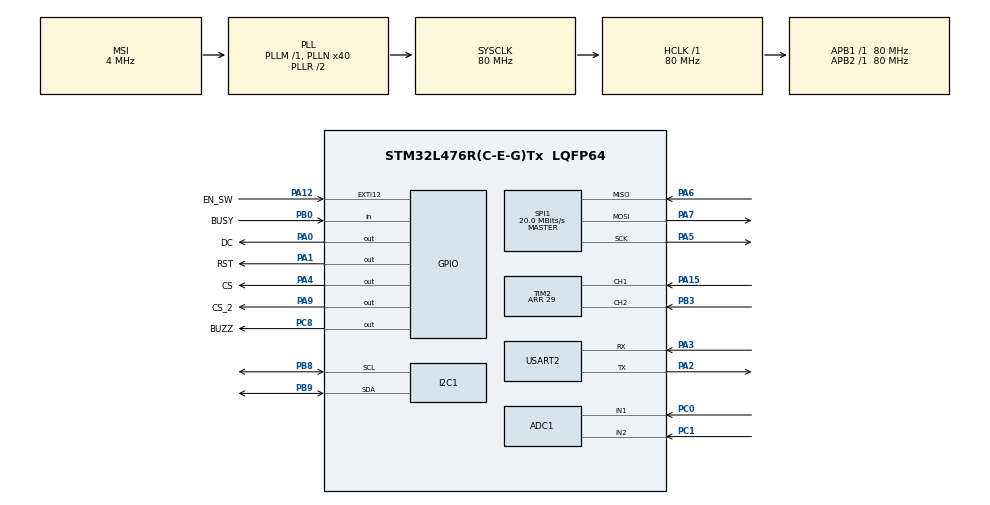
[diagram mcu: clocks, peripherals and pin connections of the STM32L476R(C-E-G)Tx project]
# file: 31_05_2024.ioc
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ADC1.Channel-2\#ChannelRegularConversion=ADC_CHANNEL_1
ADC1.Channel-3\#ChannelRegularConversion=ADC_CHANNEL_2
ADC1.NbrOfConversion=2
ADC1.NbrOfConversionFlag=1
ADC1.OffsetNumber-2\#ChannelRegularConversion=ADC_OFFSET_NONE
ADC1.OffsetNumber-3\#ChannelRegularConversion=ADC_OFFSET_NONE
ADC1.Rank-2\#ChannelRegularConversion=1
ADC1.Rank-3\#ChannelRegularConversion=2
ADC1.SamplingTime-2\#ChannelRegularConversion=ADC_SAMPLETIME_640CYCLES_5
ADC1.SamplingTime-3\#ChannelRegularConversion=ADC_SAMPLETIME_640CYCLES_5
ADC1.master=1
Dma.Request0=SPI1_TX
Dma.Request1=SPI1_RX
Dma.SPI1_RX.1.Direction=DMA_PERIPH_TO_MEMORY
Dma.SPI1_RX.1.Instance=DMA1_Channel2
Dma.SPI1_RX.1.MemDataAlignment=DMA_MDATAALIGN_BYTE
Dma.SPI1_RX.1.MemInc=DMA_MINC_ENABLE
Dma.SPI1_RX.1.Mode=DMA_NORMAL
Dma.SPI1_RX.1.PeriphDataAlignment=DMA_PDATAALIGN_BYTE
Dma.SPI1_RX.1.PeriphInc=DMA_PINC_DISABLE
Dma.SPI1_RX.1.Priority=DMA_PRIORITY_VERY_HIGH
Dma.SPI1_TX.0.Direction=DMA_MEMORY_TO_PERIPH
Dma.SPI1_TX.0.Instance=DMA1_Channel3
Dma.SPI1_TX.0.MemDataAlignment=DMA_MDATAALIGN_BYTE
Dma.SPI1_TX.0.MemInc=DMA_MINC_ENABLE
Dma.SPI1_TX.0.Mode=DMA_NORMAL
Dma.SPI1_TX.0.PeriphDataAlignment=DMA_PDATAALIGN_BYTE
Dma.SPI1_TX.0.PeriphInc=DMA_PINC_DISABLE
Dma.SPI1_TX.0.Priority=DMA_PRIORITY_VERY_HIGH
FATFS._MAX_SS=4096
FATFS._USE_LFN=1
I2C1.Timing=0x10909CEC
Mcu.Family=STM32L4
Mcu.Name=STM32L476R(C-E-G)Tx
Mcu.Package=LQFP64
NVIC.DMA1_Channel2_IRQn=true\:0\:0\:false\:false\:true\:false\:true\:true
NVIC.DMA1_Channel3_IRQn=true\:0\:0\:false\:false\:true\:false\:true\:true
NVIC.EXTI15_10_IRQn=true\:0\:0\:false\:false\:true\:true\:true\:true
NVIC.PriorityGroup=NVIC_PRIORITYGROUP_4
NVIC.SPI1_IRQn=true\:0\:0\:false\:false\:true\:true\:true\:true
NVIC.TIM2_IRQn=true\:0\:0\:false\:false\:true\:true\:true\:true
NVIC.TIM3_IRQn=true\:0\:0\:false\:false\:true\:true\:true\:true
PA0.GPIO_Label=DC
PA0.Signal=GPIO_Output
PA1.GPIO_Label=RST
PA1.Signal=GPIO_Output
PA12.GPIO_Label=EN_SW
PA12.GPIO_ModeDefaultEXTI=GPIO_MODE_IT_FALLING
PA12.GPIO_PuPd=GPIO_PULLUP
PA12.Signal=GPXTI12
PA13\ (JTMS-SWDIO).Signal=SYS_JTMS-SWDIO
PA14\ (JTCK-SWCLK).Signal=SYS_JTCK-SWCLK
PA15\ (JTDI).Signal=S_TIM2_CH1
PA2.Mode=Asynchronous
PA2.Signal=USART2_TX
PA3.Mode=Asynchronous
PA3.Signal=USART2_RX
PA4.GPIO_Label=CS
PA4.Signal=GPIO_Output
PA5.Signal=SharedStack_PA5
PA5.Stacked=true
PA6.Mode=Full_Duplex_Master
PA6.Signal=SPI1_MISO
PA7.Mode=Full_Duplex_Master
PA7.Signal=SPI1_MOSI
PA9.GPIO_Label=CS_2
PA9.Signal=GPIO_Output
PB0.GPIO_Label=BUSY
PB0.Signal=GPIO_Input
PB3\ (JTDO-TRACESWO).Signal=S_TIM2_CH2
PB8.Mode=I2C
PB8.Signal=I2C1_SCL
PB9.Mode=I2C
PB9.Signal=I2C1_SDA
PC0.Signal=ADCx_IN1
PC1.Signal=ADCx_IN2
PC14-OSC32_IN\ (PC14).Mode=LSE-External-Oscillator
PC14-OSC32_IN\ (PC14).Signal=RCC_OSC32_IN
PC15-OSC32_OUT\ (PC15).Mode=LSE-External-Oscillator
PC15-OSC32_OUT\ (PC15).Signal=RCC_OSC32_OUT
PC8.GPIO_Label=BUZZ
PC8.Signal=GPIO_Output
ProjectManager.HeapSize=0x200
ProjectManager.StackSize=0x400
ProjectManager.TargetToolchain=CMake
RCC.ADCFreq_Value=32000000
RCC.AHBFreq_Value=80000000
RCC.APB1Freq_Value=80000000
RCC.APB1TimFreq_Value=80000000
RCC.APB2Freq_Value=80000000
RCC.APB2TimFreq_Value=80000000
RCC.CortexFreq_Value=80000000
RCC.HCLKFreq_Value=80000000
RCC.HSE_VALUE=8000000
RCC.HSI_VALUE=16000000
RCC.MSI_VALUE=4000000
RCC.PLLN=40
RCC.PLLSAI1N=16
RCC.RTCClockSelection=RCC_RTCCLKSOURCE_LSE
RCC.SYSCLKFreq_VALUE=80000000
RCC.SYSCLKSource=RCC_SYSCLKSOURCE_PLLCLK
RCC.USBFreq_Value=32000000
RCC.VCOOutputFreq_Value=160000000
SH.ADCx_IN1.0=ADC1_IN1,IN1-Single-Ended
SH.ADCx_IN2.0=ADC1_IN2,IN2-Single-Ended
SH.S_TIM2_CH1.0=TIM2_CH1,Encoder_Interface
SH.S_TIM2_CH2.0=TIM2_CH2,Encoder_Interface
SH.SharedStack_PA5.0=GPIO_Output+0
SH.SharedStack_PA5.1=SPI1_SCK,Full_Duplex_Master
SPI1.BaudRatePrescaler=SPI_BAUDRATEPRESCALER_4
SPI1.CLKPhase=SPI_PHASE_1EDGE
SPI1.CLKPolarity=SPI_POLARITY_LOW
SPI1.CalculateBaudRate=20.0 MBits/s
SPI1.DataSize=SPI_DATASIZE_8BIT
SPI1.Direction=SPI_DIRECTION_2LINES
SPI1.Mode=SPI_MODE_MASTER
SPI1.VirtualType=VM_MASTER
TIM2.EncoderMode=TIM_ENCODERMODE_TI1
TIM2.Period=29
TIM3.Period=99
TIM3.Prescaler=7999
USART2.VirtualMode-Asynchronous=VM_ASYNC
VP_FATFS_VS_Generic.Mode=User_defined
VP_RTC_VS_RTC_Activate.Mode=RTC_Enabled
VP_RTC_VS_RTC_Calendar.Mode=RTC_Calendar
VP_TIM3_VS_ClockSourceINT.Mode=Internal
board=custom

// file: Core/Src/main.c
/* USER CODE BEGIN Header */
/**
 ******************************************************************************
 * @file           : main.c
 * @brief          : Main program body
 ******************************************************************************
 * @attention
 *
 * Copyright (c) 2024 STMicroelectronics.
 * All rights reserved.
 *
 * This software is licensed pod terms that can be found in the LICENSE file
 * in the root directory of this software component.
 * If no LICENSE file comes with this software, it is provided AS-IS.
 *
 ******************************************************************************
 */
/* USER CODE END Header */
#include "main.h"
#include "fatfs.h"
#include "ff.h"

/* USER CODE BEGIN Includes */
#include <stdio.h>
#include <stdlib.h>
#include <math.h>
#include <string.h>
#include "epd4in2b.h"
#include "epdpaint.h"
#include "fonts.h"
#include "imagedata.h"
#include "user_interface.h"
#include "globals.h"
#include "ens160.h"
#include "max.h"
#include "bme280.h"

/* USER CODE END Includes */

/* USER CODE BEGIN PTD */
typedef int (*CanExitMenuFunction)(void);
CanExitMenuFunction canExitMenu = NULL;

/* USER CODE END PTD */

ADC_HandleTypeDef hadc1;

I2C_HandleTypeDef hi2c1;

RTC_HandleTypeDef hrtc;

SPI_HandleTypeDef hspi1;
DMA_HandleTypeDef hdma_spi1_tx;
DMA_HandleTypeDef hdma_spi1_rx;

TIM_HandleTypeDef htim2;
TIM_HandleTypeDef htim3;

UART_HandleTypeDef huart2;

/* USER CODE BEGIN PV */
static uint32_t measurement_number = 1;

// volatile uint8_t buttonState_SW = 0;
RTC_TimeTypeDef time;
RTC_DateTypeDef date;
 FATFS FatFs;  // Fatfs handle
    FIL fil;      // File handle
    FRESULT fres; // Result after operations

float read_adc_value(void);
int get_co_ppm(float voltage);
float get_hcho_ppm(float vs);

volatile uint8_t isSDCardInserted = 0;

// main.c lub inny plik, w którym znajduje się HAL_GPIO_EXTI_Callback
extern int encoderPosition;

volatile uint8_t buzzer_active = 0;
volatile uint32_t last_interrupt_time = 0;
volatile uint8_t GoToMenu = 0;

const uint32_t debounce_time = 200; // czas tłumienia drgań w ms

static struct bme280_t bme280;
static struct bme280_t *p_bme280 = &bme280;

volatile int currentIconIndex = 1; // Globalna zmienna do śledzenia wybranej ikony

DMA_HandleTypeDef hdma_spi1_rx;
DMA_HandleTypeDef hdma_spi1_tx;
extern DFRobot_ENS160_I2C ens160;

int counter = 1;
float batteryLevel = 0;

volatile uint8_t inMenu = 0;
 volatile bool sdNotOk=0;

Epd epd;
Paint paint;

/* USER CODE END PV */

void SystemClock_Config(void);
static void MX_GPIO_Init(void);
static void MX_DMA_Init(void);
static void MX_I2C1_Init(void);
static void MX_USART2_UART_Init(void);
static void MX_ADC1_Init(void);
static void MX_SPI1_Init(void);
static void MX_TIM2_Init(void);
static void MX_TIM3_Init(void);
static void MX_RTC_Init(void);
/* USER CODE BEGIN PFP */
uint8_t CheckAndRestoreCS2(void);

float process_hcho_measurement(void);
int process_co_measurement(void);

void process_SD_card(const char *data);

void user_delay_ms(uint32_t period);
void print_sensor_data_bme280(struct bme280_t *bme280);
void init_ens160(void);
void read_and_print_ens160_data(void);

float calculate_hcho_ppm(float voltage);

int calculate_co_ppm(float voltage);

int8_t user_i2c_read(uint8_t dev_id, uint8_t reg_addr, uint8_t *reg_data, uint8_t len);
int8_t user_i2c_write(uint8_t dev_id, uint8_t reg_addr, uint8_t *reg_data, uint8_t len);

float read_soc(I2C_HandleTypeDef *hi2c);

// void DisplayIcon(int iconIndex);

void HAL_GPIO_EXTI_Callback(uint16_t GPIO_Pin);

/* USER CODE END PFP */

/* USER CODE BEGIN 0 */
uint32_t loopCounter = 0; // Licznik impulsów pętli while
uint32_t sdCounter = 0;
#define BME280_OK 0
#define BME280_I2C_ADDR 0x76

// Redirect r to UART
int __io_putchar(int ch)
{
  if (ch == '\n')
  {
    uint8_t ch2 = '\r';
    HAL_UART_Transmit(&huart2, &ch2, 1, HAL_MAX_DELAY);
  }
  HAL_UART_Transmit(&huart2, (uint8_t *)&ch, 1, HAL_MAX_DELAY);
  return 1;
}

uint8_t CheckAndRestoreCS2(void)
{
    // Zapisz aktualny stan pinu CS_2
    GPIO_PinState original_state = HAL_GPIO_ReadPin(CS_2_GPIO_Port, CS_2_Pin);

    // Ustawienie pinu CS_2 jako wejście z rezystorem podciągającym do masy
    GPIO_InitTypeDef GPIO_InitStruct = {0};
    GPIO_InitStruct.Pin = CS_2_Pin;
    GPIO_InitStruct.Mode = GPIO_MODE_INPUT;
    GPIO_InitStruct.Pull = GPIO_PULLDOWN;
    HAL_GPIO_Init(CS_2_GPIO_Port, &GPIO_InitStruct);

    // Sprawdzenie stanu pinu
    uint8_t card_inserted = HAL_GPIO_ReadPin(CS_2_GPIO_Port, CS_2_Pin) == GPIO_PIN_SET ? 1 : 0;

    // Przywrócenie oryginalnej konfiguracji pinu CS_2
    GPIO_InitStruct.Mode = GPIO_MODE_OUTPUT_PP;
    GPIO_InitStruct.Pull = GPIO_NOPULL;
    HAL_GPIO_Init(CS_2_GPIO_Port, &GPIO_InitStruct);
    HAL_GPIO_WritePin(CS_2_GPIO_Port, CS_2_Pin, original_state);

    // Zwrócenie wyniku
    return card_inserted;
}

void process_SD_card(const char *data) {
    // Prepare the buffer for data
    char data_buffer[512];

    // Get current date and time
    HAL_RTC_GetTime(&hrtc, &time, RTC_FORMAT_BIN);
    HAL_RTC_GetDate(&hrtc, &date, RTC_FORMAT_BIN);

    // Collect sensor data
    int32_t temperature_raw, pressure_raw, humidity_raw;
    bme280_read_uncomp_pressure_temperature_humidity(&pressure_raw, &temperature_raw, &humidity_raw);

    int32_t temperature = bme280_compensate_temperature_int32(temperature_raw); // Temperature in hundredths of degrees Celsius
    uint32_t humidity = bme280_compensate_humidity_int32(humidity_raw); // Humidity in thousandths of %
    uint32_t pressure = bme280_compensate_pressure_int32(pressure_raw); // Pressure in Pa

    uint8_t aqi = DFRobot_ENS160_GetAQI(&ens160);
    uint16_t co2 = DFRobot_ENS160_GetECO2(&ens160);
    uint8_t tvoc = DFRobot_ENS160_GetTVOC(&ens160);
    int co_ppm = process_co_measurement();
    float hcho_ppm = process_hcho_measurement();

    // Format data as a CSV string
    snprintf(data_buffer, sizeof(data_buffer),
        "%02d,%02d,%04d,%02d,%02d,%02d,%.2f,%.2f,%.2f,%d,%d,%d,%d,%.2f\r\n",
        date.Date, date.Month, 2000 + date.Year, time.Hours, time.Minutes, time.Seconds,
        temperature / 100.0, humidity / 1024.0, pressure / 100.0, aqi, co2, tvoc, co_ppm, hcho_ppm);

    // Mount and write to the SD card
    DWORD free_clusters;
    FATFS *fs;

    // Check if the SD card is mounted
    FRESULT res = f_getfree("", &free_clusters, &fs);

    if (res != FR_OK) {
        printf("SD card is not mounted, trying to remount...\r\n");

        // Unmount if it was previously mounted
        f_mount(NULL, "", 0);

        // Attempt to remount the SD card
        FRESULT fres = f_mount(&FatFs, "", 1);
        if (fres == FR_OK) {
            printf("SD card remounted successfully!\r\n");
        } else {
            printf("Failed to remount SD card: (%i)\r\n", fres);
            sdNotOk=1;
            return;
        }
    }

    // Open the file to append data
    printf("Opening 'sensor_data.csv' for writing...\r\n");
    FRESULT fres = f_open(&fil, "sensor_data.csv", FA_WRITE | FA_OPEN_APPEND);
    if (fres != FR_OK) {
        printf("Error opening file (FA_WRITE | FA_OPEN_APPEND): (%i)\r\n", fres);
        f_mount(NULL, "", 0);
        return;
    }

    // Check if the file is empty and write the header if it is
    if (f_size(&fil) == 0) {
        const char *header = "DAY,MONTH,YEAR,HOUR,MINUTE,SECOND,TEMPERATURE,HUMIDITY,PRESSURE,AQI,CO2,TVOC,CO,HCHO\n";
        f_write(&fil, header, strlen(header), NULL);
    }

    // Write data to the file
    fres = f_write(&fil, data_buffer, strlen(data_buffer), NULL);
    if (fres != FR_OK) {
        printf("Error writing to file\n");
        f_close(&fil);
        f_mount(NULL, "", 0);
        return;
    }
    printf("Data saved: %s\n", data_buffer);

    // Close the file
    fres = f_close(&fil);
    if (fres != FR_OK) {
        printf("Error closing file after writing: (%i)\r\n", fres);
        f_mount(NULL, "", 0);
        return;
    }

    // Unmount the SD card
    f_mount(NULL, "", 0);
    printf("SD card successfully unmounted!\r\n");
}

void read_adc_values(void)
{
    uint32_t value[2];
    float voltage[2];

    HAL_ADC_Start(&hadc1);

    // Conversion for CO channel
    HAL_ADC_PollForConversion(&hadc1, HAL_MAX_DELAY);
    value[0] = HAL_ADC_GetValue(&hadc1);

    // Conversion for HCHO channel
    HAL_ADC_PollForConversion(&hadc1, HAL_MAX_DELAY);
    value[1] = HAL_ADC_GetValue(&hadc1);

    // Convert ADC values to voltage
    voltage[0] = 3.3f * value[0] / 4095.0f;
    voltage[1] = 3.3f * value[1] / 4095.0f;

    // Calculate CO ppm
    int co_ppm = get_co_ppm(voltage[0]);

    // Calculate HCHO ppm
    float hcho_ppm = get_hcho_ppm(voltage[1]);

    // Print the results
    printf("CO value=%lu (%.3f V), CO ppm=%d\n", value[0], voltage[0], co_ppm);
    printf("HCHO value=%lu (%.3f V), HCHO ppm=%.1f\n", value[1], voltage[1], hcho_ppm);
}

int calculate_co_ppm(float voltage)
{
    const float R0 = 90.26f; // Wartość R0 w kΩ
    const float RL = 4.7f;   // Wartość rezystora pull-down w kΩ

    float Rs = RL * (3.3f / voltage - 1.0f);
    float ratio = Rs / R0;

    if (ratio > 0.8f)
        return 5;
    else if (ratio > 0.4f)
        return 10;
    else if (ratio > 0.3f)
        return 20;
    else if (ratio > 0.21f)
        return 50;
    else if (ratio > 0.17f)
        return 100;
    else if (ratio > 0.15f)
        return 150;
    else if (ratio > 0.12f)
        return 500;
    else if (ratio > 0.1f)
        return 1000;
    else
        return 5000;
}

float calculate_hcho_ppm(float voltage)
{
    const float v0 = 0.5f; // Zakładane napięcie bazowe w czystym powietrzu dla HCHO

    float ratio = voltage / v0;

    if (ratio <= 1.2)
        return 0.1;
    else if (ratio > 1.2 && ratio <= 1.4)
        return 0.2;
    else if (ratio > 1.4 && ratio <= 1.6)
        return 0.3;
    else if (ratio > 1.6 && ratio <= 1.8)
        return 0.4;
    else if (ratio > 1.8 && ratio <= 2.0)
        return 0.6;
    else if (ratio > 2.0 && ratio <= 2.2)
        return 0.9;
    else
        return 1.0;
}

int get_co_ppm(float voltage)
{
  // Stałe wartości dla obliczeń
  const float R0 = 90.26f; // Wartość R0 w kΩ
  const float RL = 4.7f;   // Wartość rezystora pull-down w kΩ

  // Oblicz rezystancję czujnika Rs
  float Rs = RL * (3.3f / voltage - 1.0f);

  // Oblicz stosunek Rs/R0
  float ratio = Rs / R0;

  // Zwróć odpowiednią wartość ppm na podstawie stosunku
  if (ratio > 0.8f)
    return 5;
  else if (ratio > 0.4f)
    return 10;
  else if (ratio > 0.3f)
    return 20;
  else if (ratio > 0.21f)
    return 50;
  else if (ratio > 0.17f)
    return 100;
  else if (ratio > 0.15f)
    return 150;
  else if (ratio > 0.12f)
    return 500;
  else if (ratio > 0.1f)
    return 1000;
  else
    return 5000;
}
float get_hcho_ppm(float vs)
{
    // Assume V0 is a baseline sensor voltage in clean air for HCHO
    const float v0 = 0.5f; // You can adjust this baseline voltage as per your sensor specifications

    // Calculate the ratio Vs/V0
    float ratio = vs / v0;

    // Determine ppm based on the ratio
    if (ratio <= 1.2)
        return 0.1; // Less than 0.1 ppm
    else if (ratio > 1.2 && ratio <= 1.4)
        return 0.2; // Less than 0.2 ppm
    else if (ratio > 1.4 && ratio <= 1.6)
        return 0.3; // Less than 0.3 ppm
    else if (ratio > 1.6 && ratio <= 1.8)
        return 0.4; // Less than 0.4 ppm
    else if (ratio > 1.8 && ratio <= 2.0)
        return 0.6; // Less than 0.6 ppm
    else if (ratio > 2.0 && ratio <= 2.2)
        return 0.9; // Less than 0.9 ppm
    else
        return 1.0; // 1.0 ppm or more
}

// Delay function for BME280
void user_delay_ms(uint32_t period)
{
  HAL_Delay(period);
}

// Function to read and print BME280 sensor data
void print_sensor_data_bme280(struct bme280_t *bme280)
{
  int32_t temp_raw, pressure_raw, humidity_raw;

  // Set the sensor to FORCED_MODE for a single measurement
  bme280_set_power_mode(BME280_FORCED_MODE);
  user_delay_ms(100); // Add delay after setting the mode

  if (bme280_read_uncomp_pressure_temperature_humidity(&pressure_raw, &temp_raw, &humidity_raw) == BME280_OK)
  {
    int32_t v_comp_temp_s32;
    uint32_t v_comp_press_u32;
    uint32_t v_comp_humidity_u32;

    v_comp_temp_s32 = bme280_compensate_temperature_int32(temp_raw);
    v_comp_press_u32 = bme280_compensate_pressure_int32(pressure_raw);
    v_comp_humidity_u32 = bme280_compensate_humidity_int32(humidity_raw);

    float imp_temp = ((float)v_comp_temp_s32 / 100);
    float imp_press = ((float)v_comp_press_u32 / 100);
    float imp_humi = ((float)v_comp_humidity_u32 / 1024);
    float dewpt = imp_temp - ((100 - imp_humi) / 5.0);

    char raw_buffer[200];
    const char separator[] = "________________________________________________________________________\r\n";
    HAL_UART_Transmit(&huart2, (uint8_t *)separator, strlen(separator), HAL_MAX_DELAY);
    int length = snprintf(raw_buffer, sizeof(raw_buffer), "ENS160_Status: %d, Raw Temp: %ld, Raw Pressure: %ld, Raw Humidity: %ld\r\n",
                          DFRobot_ENS160_GetStatus(&ens160), temp_raw, pressure_raw, humidity_raw);
    HAL_UART_Transmit(&huart2, (uint8_t *)raw_buffer, length, HAL_MAX_DELAY);

    HAL_UART_Transmit(&huart2, (uint8_t *)separator, strlen(separator), HAL_MAX_DELAY);

    char display_buffer[200];
    length = snprintf(display_buffer, sizeof(display_buffer), "Temp: %.2f °C, Press: %.2f hPa, Hum: %.2f%% rH, Dew Point: %.2f °C\r\n",
                      imp_temp, imp_press, imp_humi, dewpt);
    HAL_UART_Transmit(&huart2, (uint8_t *)display_buffer, length, HAL_MAX_DELAY);
  }
  else
  {
    const char error_message[] = "Sensor read error!\r\n";
    HAL_UART_Transmit(&huart2, (uint8_t *)error_message, strlen(error_message), HAL_MAX_DELAY);
  }

}

void init_ens160(void)
{
  DFRobot_ENS160_I2C_Init(&ens160, &hi2c1, 0x53);

  while (DFRobot_ENS160_I2C_Begin(&ens160) != NO_ERR)
  {
    printf("ENS160 initialization failed!\r\n");
    HAL_Delay(3000);
  }
  printf("ENS160 initialized successfully!\r\n");

  DFRobot_ENS160_SetPWRMode(&ens160, ENS160_STANDARD_MODE);
  DFRobot_ENS160_SetTempAndHum(&ens160, 25.0, 50.0);
}

// I2C read function for BME280
int8_t user_i2c_read(uint8_t dev_id, uint8_t reg_addr, uint8_t *reg_data, uint8_t len)
{
  HAL_StatusTypeDef status;

  if (HAL_I2C_IsDeviceReady(&hi2c1, dev_id << 1, 10, 1000) != HAL_OK)
  {
    printf("I2C device not ready!\r\n");
    return -1;
  }

  status = HAL_I2C_Mem_Read(&hi2c1, dev_id << 1, reg_addr, I2C_MEMADD_SIZE_8BIT, reg_data, len, 1000);
  if (status != HAL_OK)
  {
    printf("I2C read error: %d\r\n", status);
    return -1;
  }
  return 0;
}

// I2C write function for BME280
int8_t user_i2c_write(uint8_t dev_id, uint8_t reg_addr, uint8_t *reg_data, uint8_t len)
{
  HAL_StatusTypeDef status;

  if (HAL_I2C_IsDeviceReady(&hi2c1, dev_id << 1, 10, 1000) != HAL_OK)
  {
    printf("I2C device not ready!\r\n");
    return -1;
  }

  status = HAL_I2C_Mem_Write(&hi2c1, dev_id << 1, reg_addr, I2C_MEMADD_SIZE_8BIT, reg_data, len, 1000);
  if (status != HAL_OK)
  {
    printf("I2C write error: %d\r\n", status);
    return -1;
  }
  return 0;
}

int process_co_measurement(void)
{
    uint32_t adc_value;
    float co_voltage;

    // Start ADC conversion for CO
    HAL_ADC_Start(&hadc1);
    HAL_ADC_PollForConversion(&hadc1, HAL_MAX_DELAY);
    adc_value = HAL_ADC_GetValue(&hadc1);

    // Convert ADC value to voltage
    co_voltage = 3.3f * adc_value / 4095.0f;

    // Calculate CO ppm
    int co_ppm = calculate_co_ppm(co_voltage);

    return co_ppm;
}

float process_hcho_measurement(void)
{
    uint32_t adc_value;
    float hcho_voltage;

    // Start ADC conversion for HCHO
    HAL_ADC_Start(&hadc1);
    HAL_ADC_PollForConversion(&hadc1, HAL_MAX_DELAY);
    adc_value = HAL_ADC_GetValue(&hadc1);

    // Convert ADC value to voltage
    hcho_voltage = 3.3f * adc_value / 4095.0f;

    // Calculate HCHO ppm
    float hcho_ppm = calculate_hcho_ppm(hcho_voltage);

    return hcho_ppm;
}

/* USER CODE END 0 */

int main(void)
{

  /* USER CODE BEGIN 1 */
  // Initialize the ENS160 sensor

  /* USER CODE END 1 */

  /* MCU Configuration--------------------------------------------------------*/

  /* Reset of all peripherals, Initializes the Flash interface and the Systick. */
  HAL_Init();

  /* Configure the system clock */
  SystemClock_Config();

  /* Initialize all configured peripherals */
  MX_GPIO_Init();
  MX_DMA_Init();
  MX_I2C1_Init();
  MX_USART2_UART_Init();
  MX_ADC1_Init();
  MX_SPI1_Init();
  MX_TIM2_Init();
  MX_FATFS_Init();
  MX_TIM3_Init();
  MX_RTC_Init();
  /* USER CODE BEGIN 2 */

  /* E-paper display setup */
  HAL_TIM_Encoder_Start(&htim2, TIM_CHANNEL_ALL);

  if (Epd_Init(&epd) != 0)
  {
    printf("e-Paper init failed\n");
    return 1;
  }

  Epd_Clear(&epd);
  printf("e-Paper init succeed!\n");

  unsigned char top_menu[(400 * 300) / 8 + 100] = {0}; // Bufor dla całego gornego  paska

  // width should be the multiple of 8
  Paint_Init(&paint, top_menu, 400, 300);
  Paint_Clear(&paint, UNCOLORED);

  // Początkowe wypełnienie ekranu

  Epd_DisplayFull(&epd, Paint_GetImage(&paint));

  /* USER CODE END 2 */

  /* Infinite loop */
  /* USER CODE BEGIN WHILE */

  int thickness = 2; // Grubość obiektów interfejsu

  // Parametry obiektów
  int width = 120;
  int height = 90;

  // Obliczenia przesunięć
  int offset_x = 260; // Przesunięcie poziome
  int offset_y = 100; // Przesunięcie pionowe

  // Obliczanie środka ekranu
  int screen_center_x = EPD_WIDTH / 2+8;
  int screen_center_y = EPD_HEIGHT / 2+8;

  int vertical_gap = 10; // Odległość pionowa między ćwiartkami

  // Obliczanie pozycji ćwiartek względem środka ekranu
  int x0_left = screen_center_x - offset_x / 2 - width / 2;
  int x0_right = screen_center_x + offset_x / 2 - width / 2;
  int y0_top = screen_center_y - offset_y / 2 - height / 2 - 10 - vertical_gap / 2;
  int y0_bottom = screen_center_y + offset_y / 2 - height / 2 - 10 - vertical_gap / 2;

  init_ens160();

  p_bme280->bus_write = user_i2c_write;
  p_bme280->bus_read = user_i2c_read;
  p_bme280->delay_msec = user_delay_ms;
  p_bme280->dev_addr = BME280_I2C_ADDR;

  if (bme280_init(p_bme280) != BME280_OK)
  {
    printf("BME280 initialization failed!\r\n");
    Error_Handler();
  }
  else
  {
    printf("BME280 initialized successfully!\r\n");
  }

  // Configure BME280 sensor
  bme280_set_oversamp_humidity(BME280_OVERSAMP_1X);
  bme280_set_oversamp_pressure(BME280_OVERSAMP_16X);
  bme280_set_oversamp_temperature(BME280_OVERSAMP_2X);
  bme280_set_filter(BME280_FILTER_COEFF_16);
  bme280_set_standby_durn(BME280_STANDBY_TIME_63_MS);

  // Prepare CSV data
    char data_buffer[512];
    snprintf(data_buffer, sizeof(data_buffer), "%ld\r\n", measurement_number++);

  process_SD_card(data_buffer);

while (1) {

    if (!inMenu) {

CheckAndRestoreCS2();

        // Pobranie aktualnego czasu z RTC
        HAL_RTC_GetTime(&hrtc, &time, RTC_FORMAT_BIN);
        printf("RTC: %02d:%02d:%02d\n", time.Hours, time.Minutes, time.Seconds);

        // Odczyt danych z czujników
        read_and_print_ens160_data();
        print_sensor_data_bme280(p_bme280);
        read_adc_values();

        // Aktualizacja ikony na podstawie wartości enkodera
        uint32_t encoderValue = __HAL_TIM_GET_COUNTER(&htim2);
        int iconIndex = getIconIndex(encoderValue);
        currentIconIndex = iconIndex; // Aktualizacja globalnej zmiennej

        // Czyszczenie ekranu przed rysowaniem
        Paint_Clear(&paint, UNCOLORED);

        // Wyświetlanie sekcji górnej z danymi RTC i wskaźnikiem baterii
        DisplayTopSection(&paint, iconIndex, encoderValue, counter++, batteryLevel);

        // Odczyt poziomu baterii i jego wyświetlenie
        uint8_t bat_percentage = read_soc(&hi2c1);

        batteryLevel = bat_percentage;

// Parametry rysowania
int battery_x = 350;
int battery_y = 3;
int battery_width = 41;
int battery_height = 23;

// Narysuj ikonę baterii
DrawBattery(&paint, battery_x, battery_y, battery_width, battery_height, batteryLevel, COLORED);

char buffer_bat_percentage[20];
snprintf(buffer_bat_percentage, sizeof(buffer_bat_percentage), "%d", bat_percentage);

// Oblicz pozycję do rysowania, aby wycentrować tekst w ikonie baterii
int text_width = strlen(buffer_bat_percentage) * Font20.Width;
int x_center = battery_x + (battery_width - text_width) / 2;
int y_center = battery_y + (battery_height - Font20.Height) / 2+4;

// Rysuj obrys tekstu procentowego
Paint_DrawStringWithOutline(&paint, x_center, y_center, buffer_bat_percentage, &Font20, 2);

// Oblicz pozycję dla "%", tuż po wartości procentowej
x_center += text_width; // Przesuń o szerokość wartości liczbowej

// Rysuj obrys "%" mniejszą czcionką
//Paint_DrawStringWithOutline(&paint, x_center, y_center + 2, "%", &Font16, 1);

        // Rysowanie obiektów na ekranie
        Paint_Universal_Ring(&paint, x0_left, y0_top, width, height, thickness, COLORED, 1); // Ćwiartka: 1
        Paint_Universal_Ring(&paint, x0_right, y0_top, width, height, thickness, COLORED, 2); // Ćwiartka: 2

   Paint_DrawStringAt(&paint, 306, 80, "TVOC", &Font20, COLORED);
  Paint_DrawStringAt(&paint, 24, 80, "CO2", &Font20, COLORED);

// Wyświetlanie danych TVOC z dołączonym "ppm" mniejszą czcionką

uint8_t tvoc = DFRobot_ENS160_GetTVOC(&ens160);
char buffer_tvoc[20];
snprintf(buffer_tvoc, sizeof(buffer_tvoc), "%d", tvoc);

int x_pos_tvoc = 308;
int y_pos_tvoc = 100;

// Rysowanie wartości TVOC większą czcionką
Paint_DrawStringAt(&paint, x_pos_tvoc, y_pos_tvoc, buffer_tvoc, &Font20, COLORED);

// Przesunięcie x_pos_tvoc o szerokość narysowanego tekstu wartości TVOC
x_pos_tvoc += strlen(buffer_tvoc) * Font20.Width;

// Rysowanie "ppm" mniejszą czcionką, zaraz po wartości
Paint_DrawStringAt(&paint, x_pos_tvoc + 2, y_pos_tvoc + 4, "ppm", &Font16, COLORED);

Paint_Universal_Ring(&paint, x0_left, y0_bottom, width, height, thickness, COLORED, 3); // Ćwiartka: 3

int x_pos_co2 = 24;
int y_pos_co2 = 100;

// Wyświetlanie danych CO2 z dołączonym "ppm" mniejszą czcionką
uint16_t co2 = DFRobot_ENS160_GetECO2(&ens160);
char buffer_CO2[20];
snprintf(buffer_CO2, sizeof(buffer_CO2), "%d", co2);

// Rysowanie wartości CO2 większą czcionką
Paint_DrawStringAt(&paint, x_pos_co2, y_pos_co2, buffer_CO2, &Font20, COLORED);

// Przesunięcie x_pos_co2 o szerokość narysowanego tekstu wartości CO2
x_pos_co2 += strlen(buffer_CO2) * Font20.Width;

// Rysowanie "ppm" mniejszą czcionką, zaraz po wartości
Paint_DrawStringAt(&paint, x_pos_co2 + 2, y_pos_co2 + 4, "ppm", &Font16, COLORED);

        Paint_Universal_Ring(&paint, x0_right, y0_bottom, width, height, thickness, COLORED, 4); // Ćwiartka: 4

        // Rysowanie centralnego pierścienia z AQI
        int center_x = (x0_left + width / 2 + x0_right + width / 2) / 2;
        int center_y = (y0_top + height / 2 + y0_bottom + height / 2) / 2;
        int outer_radius = screen_center_x - x0_left - height - vertical_gap - thickness;
        Paint_DrawRing(&paint, center_x, center_y, outer_radius, thickness, COLORED);

        uint8_t aqi = DFRobot_ENS160_GetAQI(&ens160);
        char buffer_AQI[100];
        snprintf(buffer_AQI, sizeof(buffer_AQI), "%d", aqi);
        Paint_DrawStringAtCenter(&paint, center_y, buffer_AQI, &Font20, 400);
        Paint_DrawStringAtCenter(&paint, center_y - 20, "AQI:", &Font20, 400);

int co_ppm = process_co_measurement();
    float hcho_ppm = process_hcho_measurement();

    Paint_DrawStringAt(&paint, 22, 180 , "CO", &Font20, COLORED);
 Paint_DrawStringAt(&paint, 306, 180 , "HCHO", &Font20, COLORED);

// Deklaracja zmiennych dla bufora i pozycji dla HCHO
char buffer_HCHO[10];
int x_pos_hcho = 296;
int y_pos_hcho = 200;

// Rysowanie "<" i wartości hcho_ppm
snprintf(buffer_HCHO, sizeof(buffer_HCHO), "<%.1f", hcho_ppm);
Paint_DrawStringAt(&paint, x_pos_hcho, y_pos_hcho, buffer_HCHO, &Font20, COLORED);

// Przesunięcie x_pos_hcho o szerokość narysowanego tekstu "<0.5"
x_pos_hcho += strlen(buffer_HCHO) * Font20.Width;

// Rysowanie "ppm" mniejszą czcionką, zaraz po wartości
Paint_DrawStringAt(&paint, x_pos_hcho + 5, y_pos_hcho + 2, "ppm", &Font16, COLORED);

// Deklaracja zmiennych dla bufora i pozycji
char buffer_CO[10];
int x_pos = 22;
int y_pos = 200;

// Rysowanie "<" i wartości co_ppm
snprintf(buffer_CO, sizeof(buffer_CO), "<%d", co_ppm);
Paint_DrawStringAt(&paint, x_pos, y_pos, buffer_CO, &Font20, COLORED);

// Przesunięcie x_pos o szerokość narysowanego tekstu "<100"
x_pos += strlen(buffer_CO) * Font20.Width;

// Rysowanie "ppm" mniejszą czcionką, zaraz po wartości
Paint_DrawStringAt(&paint, x_pos + 5, y_pos + 2, "ppm", &Font16, COLORED);

        // Odczyt i wyświetlanie temperatury oraz wilgotności z BME280
        int32_t temp_raw = 0, pressure_raw = 0, humidity_raw = 0;
        if (bme280_read_uncomp_pressure_temperature_humidity(&pressure_raw, &temp_raw, &humidity_raw) == BME280_OK) {
            int32_t bme280_temp = bme280_compensate_temperature_int32(temp_raw);
            float temperature_celsius = bme280_temp / 100.0;

            uint32_t bme280_humidity = bme280_compensate_humidity_int32(humidity_raw);
            float humidity_percentage = bme280_humidity / 1024.0;

            char buffer_TEMP[50], buffer_HUM[50];
            snprintf(buffer_TEMP, sizeof(buffer_TEMP), "%.1f", temperature_celsius);
            snprintf(buffer_HUM, sizeof(buffer_HUM), "%.1f", humidity_percentage);

            int line_y = center_y + 40;
            Paint_DrawStringAt(&paint, center_x - 60, line_y - 20, "T:", &Font16, 400);
            Paint_DrawStringAt(&paint, center_x - 60, line_y, buffer_TEMP, &Font16, 400);
            Paint_DrawStringAt(&paint, center_x + 20, line_y - 20, "H:", &Font16, 400);
            Paint_DrawStringAt(&paint, center_x + 20, line_y, buffer_HUM, &Font16, 400);
        } else {
            Paint_DrawStringAtCenter(&paint, center_y + 40, "Error", &Font16, 400);
        }

        // Wyświetlanie dolnej sekcji z ikonami

int height = 40;     // Wysokość prostokątów
int distance = 10;   // Odległość między prostokątami
int y0_bottom = EPD_HEIGHT - height - 10; // Pozycja Y dolnego prostokąta, blisko dolnej krawędzi ekranu

//Paint_Draw3RectanglesCenter(&paint, y0_bottom, height, distance, thickness, COLORED, x0_left, EPD_WIDTH-2);

        DisplayBottomSection(&paint, iconIndex);

if ( sdNotOk==1    &&   (loopCounter % 2 == 0)   && (CheckAndRestoreCS2() == 1   )       ) {
    Paint_DrawBitmap(&paint, icon_exclamation_mark, 286, 0, 32, 32, COLORED);
}

/*

if ( sdNotOk==1      ) {
    Paint_DrawBitmap(&paint, icon_exclamation_mark, 286, 0, 32, 32, COLORED);
}

 */

        Epd_Display_Partial_DMA(&epd, Paint_GetImage(&paint), 0, 0, 400, 300);

        HAL_Delay(10);

// Pełne odświeżenie ekranu co 180 cykli
loopCounter++;
if (loopCounter >= 205) {
    Epd_Clear(&epd);
    Paint_Clear(&paint, UNCOLORED);
    Epd_DisplayFull(&epd, Paint_GetImage(&paint));
    loopCounter = 0;
}

// Proces SD co 10 cykli
if (loopCounter % 10 == 0) {
    process_SD_card(data_buffer);
}

    }

    // Sprawdzenie, czy należy przejść do menu
    if (GoToMenu > 0 && GoToMenu <= 8) {
        inMenu = 1;  // Ustawienie flagi przed wejściem do menu
        switch (GoToMenu) {
            case 1:
                ShowMenu1();
                break;
            case 2:
                ShowMenu2();
                break;
            case 3:
                ShowMenu3();
                break;
            case 4:
                ShowMenu4();
                break;
            case 5:
                ShowMenu5();
                break;
            case 6:
                ShowMenu6();
                break;
            case 7:
                ShowMenu7();
                break;
            case 8:
                ShowMenu8();
                break;
        }
        GoToMenu = 0; // Zresetowanie zmiennej po obsłużeniu
        inMenu = 0;  // Powrót do normalnej pracy po wyjściu z menu
    }
}

  /* USER CODE END WHILE */

}

void SystemClock_Config(void)
{
  RCC_OscInitTypeDef RCC_OscInitStruct = {0};
  RCC_ClkInitTypeDef RCC_ClkInitStruct = {0};

  /** Configure the main internal regulator output voltage
   */
  if (HAL_PWREx_ControlVoltageScaling(PWR_REGULATOR_VOLTAGE_SCALE1) != HAL_OK)
  {
    Error_Handler();
  }

  /** Configure LSE Drive Capability
   */
  HAL_PWR_EnableBkUpAccess();
  __HAL_RCC_LSEDRIVE_CONFIG(RCC_LSEDRIVE_LOW);

  /** Initializes the RCC Oscillators according to the specified parameters
   * in the RCC_OscInitTypeDef structure.
   */
  RCC_OscInitStruct.OscillatorType = RCC_OSCILLATORTYPE_LSE | RCC_OSCILLATORTYPE_MSI;
  RCC_OscInitStruct.LSEState = RCC_LSE_ON;
  RCC_OscInitStruct.MSIState = RCC_MSI_ON;
  RCC_OscInitStruct.MSICalibrationValue = 0;
  RCC_OscInitStruct.MSIClockRange = RCC_MSIRANGE_6;
  RCC_OscInitStruct.PLL.PLLState = RCC_PLL_ON;
  RCC_OscInitStruct.PLL.PLLSource = RCC_PLLSOURCE_MSI;
  RCC_OscInitStruct.PLL.PLLM = 1;
  RCC_OscInitStruct.PLL.PLLN = 40;
  RCC_OscInitStruct.PLL.PLLP = RCC_PLLP_DIV7;
  RCC_OscInitStruct.PLL.PLLQ = RCC_PLLQ_DIV2;
  RCC_OscInitStruct.PLL.PLLR = RCC_PLLR_DIV2;
  if (HAL_RCC_OscConfig(&RCC_OscInitStruct) != HAL_OK)
  {
    Error_Handler();
  }

  /** Initializes the CPU, AHB and APB buses clocks
   */
  RCC_ClkInitStruct.ClockType = RCC_CLOCKTYPE_HCLK | RCC_CLOCKTYPE_SYSCLK | RCC_CLOCKTYPE_PCLK1 | RCC_CLOCKTYPE_PCLK2;
  RCC_ClkInitStruct.SYSCLKSource = RCC_SYSCLKSOURCE_PLLCLK;
  RCC_ClkInitStruct.AHBCLKDivider = RCC_SYSCLK_DIV1;
  RCC_ClkInitStruct.APB1CLKDivider = RCC_HCLK_DIV1;
  RCC_ClkInitStruct.APB2CLKDivider = RCC_HCLK_DIV1;

  if (HAL_RCC_ClockConfig(&RCC_ClkInitStruct, FLASH_LATENCY_4) != HAL_OK)
  {
    Error_Handler();
  }

  /** Enable MSI Auto calibration
   */
  HAL_RCCEx_EnableMSIPLLMode();
}

static void MX_ADC1_Init(void)
{

  ADC_MultiModeTypeDef multimode = {0};
  ADC_ChannelConfTypeDef sConfig = {0};

  /** Common config
   */
  hadc1.Instance = ADC1;
  hadc1.Init.ClockPrescaler = ADC_CLOCK_ASYNC_DIV1;
  hadc1.Init.Resolution = ADC_RESOLUTION_12B;
  hadc1.Init.DataAlign = ADC_DATAALIGN_RIGHT;
  hadc1.Init.ScanConvMode = ADC_SCAN_ENABLE;
  hadc1.Init.EOCSelection = ADC_EOC_SINGLE_CONV;
  hadc1.Init.LowPowerAutoWait = DISABLE;
  hadc1.Init.ContinuousConvMode = DISABLE;
  hadc1.Init.NbrOfConversion = 2;
  hadc1.Init.DiscontinuousConvMode = DISABLE;
  hadc1.Init.ExternalTrigConv = ADC_SOFTWARE_START;
  hadc1.Init.ExternalTrigConvEdge = ADC_EXTERNALTRIGCONVEDGE_NONE;
  hadc1.Init.DMAContinuousRequests = DISABLE;
  hadc1.Init.Overrun = ADC_OVR_DATA_PRESERVED;
  hadc1.Init.OversamplingMode = DISABLE;
  if (HAL_ADC_Init(&hadc1) != HAL_OK)
  {
    Error_Handler();
  }

  /** Configure the ADC multi-mode
   */
  multimode.Mode = ADC_MODE_INDEPENDENT;
  if (HAL_ADCEx_MultiModeConfigChannel(&hadc1, &multimode) != HAL_OK)
  {
    Error_Handler();
  }

  /** Configure Regular Channel
   */
  sConfig.Channel = ADC_CHANNEL_1;
  sConfig.Rank = ADC_REGULAR_RANK_1;
  sConfig.SamplingTime = ADC_SAMPLETIME_640CYCLES_5;
  sConfig.SingleDiff = ADC_SINGLE_ENDED;
  sConfig.OffsetNumber = ADC_OFFSET_NONE;
  sConfig.Offset = 0;
  if (HAL_ADC_ConfigChannel(&hadc1, &sConfig) != HAL_OK)
  {
    Error_Handler();
  }

  /** Configure Regular Channel
   */
  sConfig.Channel = ADC_CHANNEL_2;
  sConfig.Rank = ADC_REGULAR_RANK_2;
  if (HAL_ADC_ConfigChannel(&hadc1, &sConfig) != HAL_OK)
  {
    Error_Handler();
  }
}

static void MX_I2C1_Init(void)
{

  hi2c1.Instance = I2C1;
  hi2c1.Init.Timing = 0x10909CEC;
  hi2c1.Init.OwnAddress1 = 0;
  hi2c1.Init.AddressingMode = I2C_ADDRESSINGMODE_7BIT;
  hi2c1.Init.DualAddressMode = I2C_DUALADDRESS_DISABLE;
  hi2c1.Init.OwnAddress2 = 0;
  hi2c1.Init.OwnAddress2Masks = I2C_OA2_NOMASK;
  hi2c1.Init.GeneralCallMode = I2C_GENERALCALL_DISABLE;
  hi2c1.Init.NoStretchMode = I2C_NOSTRETCH_DISABLE;
  if (HAL_I2C_Init(&hi2c1) != HAL_OK)
  {
    Error_Handler();
  }

  /** Configure Analogue filter
   */
  if (HAL_I2CEx_ConfigAnalogFilter(&hi2c1, I2C_ANALOGFILTER_ENABLE) != HAL_OK)
  {
    Error_Handler();
  }

  /** Configure Digital filter
   */
  if (HAL_I2CEx_ConfigDigitalFilter(&hi2c1, 0) != HAL_OK)
  {
    Error_Handler();
  }
}

static void MX_RTC_Init(void)
{

  RTC_TimeTypeDef sTime = {0};
  RTC_DateTypeDef sDate = {0};

  /** Initialize RTC Only
   */
  hrtc.Instance = RTC;
  hrtc.Init.HourFormat = RTC_HOURFORMAT_24;
  hrtc.Init.AsynchPrediv = 127;
  hrtc.Init.SynchPrediv = 255;
  hrtc.Init.OutPut = RTC_OUTPUT_DISABLE;
  hrtc.Init.OutPutRemap = RTC_OUTPUT_REMAP_NONE;
  hrtc.Init.OutPutPolarity = RTC_OUTPUT_POLARITY_HIGH;
  hrtc.Init.OutPutType = RTC_OUTPUT_TYPE_OPENDRAIN;
  if (HAL_RTC_Init(&hrtc) != HAL_OK)
  {
    Error_Handler();
  }

  /** Initialize RTC and set the Time and Date
   */
  sTime.Hours = 0x0;
  sTime.Minutes = 0x0;
  sTime.Seconds = 0x0;
  sTime.DayLightSaving = RTC_DAYLIGHTSAVING_NONE;
  sTime.StoreOperation = RTC_STOREOPERATION_RESET;
  if (HAL_RTC_SetTime(&hrtc, &sTime, RTC_FORMAT_BCD) != HAL_OK)
  {
    Error_Handler();
  }
  sDate.WeekDay = RTC_WEEKDAY_MONDAY;
  sDate.Month = RTC_MONTH_JANUARY;
  sDate.Date = 0x1;
  sDate.Year = 0x0;

  if (HAL_RTC_SetDate(&hrtc, &sDate, RTC_FORMAT_BCD) != HAL_OK)
  {
    Error_Handler();
  }
}

static void MX_SPI1_Init(void)
{

  /* SPI1 parameter configuration*/
  hspi1.Instance = SPI1;
  hspi1.Init.Mode = SPI_MODE_MASTER;
  hspi1.Init.Direction = SPI_DIRECTION_2LINES;
  hspi1.Init.DataSize = SPI_DATASIZE_8BIT;
  hspi1.Init.CLKPolarity = SPI_POLARITY_LOW;
  hspi1.Init.CLKPhase = SPI_PHASE_1EDGE;
  hspi1.Init.NSS = SPI_NSS_SOFT;
  hspi1.Init.BaudRatePrescaler = SPI_BAUDRATEPRESCALER_4;
  hspi1.Init.FirstBit = SPI_FIRSTBIT_MSB;
  hspi1.Init.TIMode = SPI_TIMODE_DISABLE;
  hspi1.Init.CRCCalculation = SPI_CRCCALCULATION_DISABLE;
  hspi1.Init.CRCPolynomial = 7;
  hspi1.Init.CRCLength = SPI_CRC_LENGTH_DATASIZE;
  hspi1.Init.NSSPMode = SPI_NSS_PULSE_ENABLE;
  if (HAL_SPI_Init(&hspi1) != HAL_OK)
  {
    Error_Handler();
  }
}

static void MX_TIM2_Init(void)
{

  TIM_Encoder_InitTypeDef sConfig = {0};
  TIM_MasterConfigTypeDef sMasterConfig = {0};

  htim2.Instance = TIM2;
  htim2.Init.Prescaler = 0;
  htim2.Init.CounterMode = TIM_COUNTERMODE_UP;
  htim2.Init.Period = 29;
  htim2.Init.ClockDivision = TIM_CLOCKDIVISION_DIV1;
  htim2.Init.AutoReloadPreload = TIM_AUTORELOAD_PRELOAD_DISABLE;
  sConfig.EncoderMode = TIM_ENCODERMODE_TI1;
  sConfig.IC1Polarity = TIM_ICPOLARITY_RISING;
  sConfig.IC1Selection = TIM_ICSELECTION_DIRECTTI;
  sConfig.IC1Prescaler = TIM_ICPSC_DIV1;
  sConfig.IC1Filter = 0;
  sConfig.IC2Polarity = TIM_ICPOLARITY_RISING;
  sConfig.IC2Selection = TIM_ICSELECTION_DIRECTTI;
  sConfig.IC2Prescaler = TIM_ICPSC_DIV1;
  sConfig.IC2Filter = 0;
  if (HAL_TIM_Encoder_Init(&htim2, &sConfig) != HAL_OK)
  {
    Error_Handler();
  }
  sMasterConfig.MasterOutputTrigger = TIM_TRGO_RESET;
  sMasterConfig.MasterSlaveMode = TIM_MASTERSLAVEMODE_DISABLE;
  if (HAL_TIMEx_MasterConfigSynchronization(&htim2, &sMasterConfig) != HAL_OK)
  {
    Error_Handler();
  }
}

static void MX_TIM3_Init(void)
{

  TIM_ClockConfigTypeDef sClockSourceConfig = {0};
  TIM_MasterConfigTypeDef sMasterConfig = {0};

  htim3.Instance = TIM3;
  htim3.Init.Prescaler = 7999;
  htim3.Init.CounterMode = TIM_COUNTERMODE_UP;
  htim3.Init.Period = 99;
  htim3.Init.ClockDivision = TIM_CLOCKDIVISION_DIV1;
  htim3.Init.AutoReloadPreload = TIM_AUTORELOAD_PRELOAD_DISABLE;
  if (HAL_TIM_Base_Init(&htim3) != HAL_OK)
  {
    Error_Handler();
  }
  sClockSourceConfig.ClockSource = TIM_CLOCKSOURCE_INTERNAL;
  if (HAL_TIM_ConfigClockSource(&htim3, &sClockSourceConfig) != HAL_OK)
  {
    Error_Handler();
  }
  sMasterConfig.MasterOutputTrigger = TIM_TRGO_RESET;
  sMasterConfig.MasterSlaveMode = TIM_MASTERSLAVEMODE_DISABLE;
  if (HAL_TIMEx_MasterConfigSynchronization(&htim3, &sMasterConfig) != HAL_OK)
  {
    Error_Handler();
  }
}

static void MX_USART2_UART_Init(void)
{

  huart2.Instance = USART2;
  huart2.Init.BaudRate = 115200;
  huart2.Init.WordLength = UART_WORDLENGTH_8B;
  huart2.Init.StopBits = UART_STOPBITS_1;
  huart2.Init.Parity = UART_PARITY_NONE;
  huart2.Init.Mode = UART_MODE_TX_RX;
  huart2.Init.HwFlowCtl = UART_HWCONTROL_NONE;
  huart2.Init.OverSampling = UART_OVERSAMPLING_16;
  huart2.Init.OneBitSampling = UART_ONE_BIT_SAMPLE_DISABLE;
  huart2.AdvancedInit.AdvFeatureInit = UART_ADVFEATURE_NO_INIT;
  if (HAL_UART_Init(&huart2) != HAL_OK)
  {
    Error_Handler();
  }
}

static void MX_DMA_Init(void)
{

  /* DMA controller clock enable */
  __HAL_RCC_DMA1_CLK_ENABLE();

  /* DMA interrupt init */
  /* DMA1_Channel2_IRQn interrupt configuration */
  HAL_NVIC_SetPriority(DMA1_Channel2_IRQn, 0, 0);
  HAL_NVIC_EnableIRQ(DMA1_Channel2_IRQn);
  /* DMA1_Channel3_IRQn interrupt configuration */
  HAL_NVIC_SetPriority(DMA1_Channel3_IRQn, 0, 0);
  HAL_NVIC_EnableIRQ(DMA1_Channel3_IRQn);
}

static void MX_GPIO_Init(void)
{
  GPIO_InitTypeDef GPIO_InitStruct = {0};

  /* GPIO Ports Clock Enable */
  __HAL_RCC_GPIOC_CLK_ENABLE();
  __HAL_RCC_GPIOA_CLK_ENABLE();
  __HAL_RCC_GPIOB_CLK_ENABLE();

  /*Configure GPIO pin Output Level */
  HAL_GPIO_WritePin(GPIOA, DC_Pin | RST_Pin | CS_Pin | CS_2_Pin, GPIO_PIN_RESET);

  /*Configure GPIO pin Output Level */
  HAL_GPIO_WritePin(BUZZ_GPIO_Port, BUZZ_Pin, GPIO_PIN_RESET);

  /*Configure GPIO pins : DC_Pin RST_Pin CS_Pin CS_2_Pin */
  GPIO_InitStruct.Pin = DC_Pin | RST_Pin | CS_Pin | CS_2_Pin;
  GPIO_InitStruct.Mode = GPIO_MODE_OUTPUT_PP;
  GPIO_InitStruct.Pull = GPIO_NOPULL;
  GPIO_InitStruct.Speed = GPIO_SPEED_FREQ_LOW;
  HAL_GPIO_Init(GPIOA, &GPIO_InitStruct);

  /*Configure GPIO pin : BUSY_Pin */
  GPIO_InitStruct.Pin = BUSY_Pin;
  GPIO_InitStruct.Mode = GPIO_MODE_INPUT;
  GPIO_InitStruct.Pull = GPIO_NOPULL;
  HAL_GPIO_Init(BUSY_GPIO_Port, &GPIO_InitStruct);

  /*Configure GPIO pin : BUZZ_Pin */
  GPIO_InitStruct.Pin = BUZZ_Pin;
  GPIO_InitStruct.Mode = GPIO_MODE_OUTPUT_PP;
  GPIO_InitStruct.Pull = GPIO_NOPULL;
  GPIO_InitStruct.Speed = GPIO_SPEED_FREQ_LOW;
  HAL_GPIO_Init(BUZZ_GPIO_Port, &GPIO_InitStruct);

  /*Configure GPIO pin : EN_SW_Pin */
  GPIO_InitStruct.Pin = EN_SW_Pin;
  GPIO_InitStruct.Mode = GPIO_MODE_IT_FALLING;
  GPIO_InitStruct.Pull = GPIO_PULLUP;
  HAL_GPIO_Init(EN_SW_GPIO_Port, &GPIO_InitStruct);

  /* EXTI interrupt init*/
  HAL_NVIC_SetPriority(EXTI15_10_IRQn, 0, 0);
  HAL_NVIC_EnableIRQ(EXTI15_10_IRQn);

}

/* USER CODE BEGIN 4 */
void HAL_GPIO_EXTI_Callback(uint16_t GPIO_Pin)
{
  if (GPIO_Pin == EN_SW_Pin)
  {
    uint32_t current_time = HAL_GetTick();
    if ((current_time - last_interrupt_time) > debounce_time)
    {
      last_interrupt_time = current_time;

      if (inMenu)
      {
        // Jeśli encoderPosition jest w zakresie 1-5, to ustawiamy wartości, a nie wychodzimy z menu
        if (encoderPosition > 0 && encoderPosition <= 5)
        {
          EditMenu3Setting();
        }
        else if (canExitMenu == NULL || canExitMenu())
        {
          inMenu = 0; // Wyjście z menu tylko, gdy encoderPosition == 0
            __HAL_TIM_SET_COUNTER(&htim2, 2);

        }
      }
      else
      {
        // Wejdź do menu
        printf("Przycisk enkodera wciśnięty! Aktualna ikona: %d\n", currentIconIndex);

        // Ustawienie GoToMenu na podstawie currentIconIndex
        GoToMenu = currentIconIndex;

        inMenu = 1; // Ustawienie flagi inMenu na true
      }

      // Włączenie BUZZ
      HAL_GPIO_WritePin(BUZZ_GPIO_Port, BUZZ_Pin, GPIO_PIN_SET);

      // Uruchomienie timera, aby wyłączyć BUZZ po 100 ms
      __HAL_TIM_SET_COUNTER(&htim3, 0);
      HAL_TIM_Base_Start_IT(&htim3);
    }
  }
}

void HAL_TIM_PeriodElapsedCallback(TIM_HandleTypeDef *htim)
{
  if (htim->Instance == TIM3)
  {
    HAL_GPIO_WritePin(BUZZ_GPIO_Port, BUZZ_Pin, GPIO_PIN_RESET);
    HAL_TIM_Base_Stop_IT(htim);
  }
}

/* USER CODE END 4 */

void Error_Handler(void)
{
}
